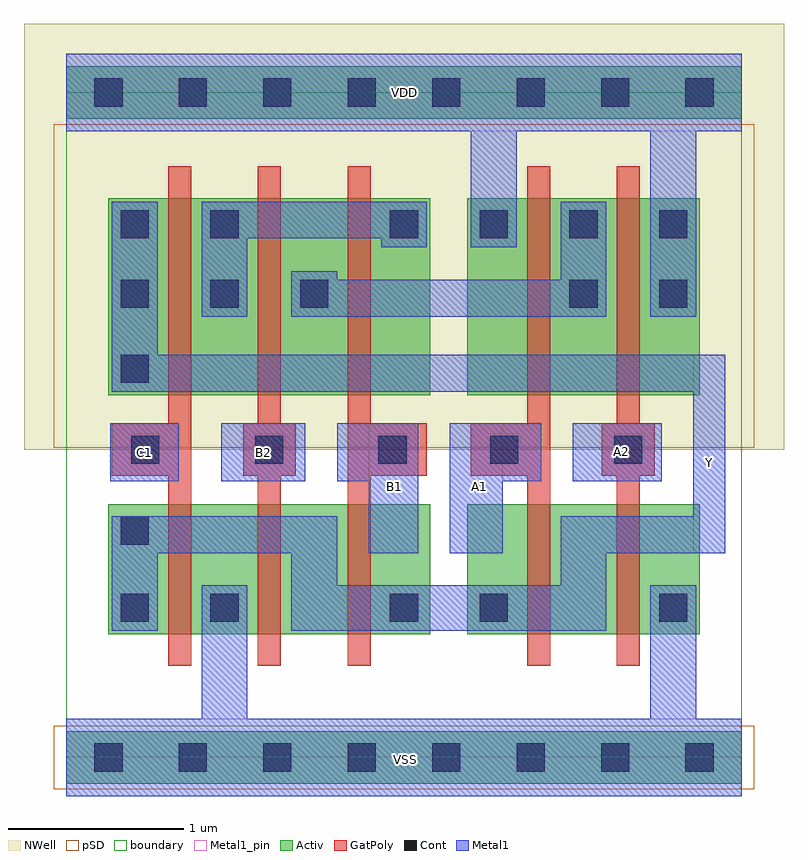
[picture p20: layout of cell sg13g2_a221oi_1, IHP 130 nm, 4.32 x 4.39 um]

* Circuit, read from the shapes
.subckt sg13g2_a221oi_1 A1 A2 B1 B2 C1 VDD VSS Y
XM1 VSS C1 Y VSS sg13_lv_nmos w=0.74u l=0.13u
XM2 n1 B2 VSS VSS sg13_lv_nmos w=0.74u l=0.13u
XM3 Y B1 n1 VSS sg13_lv_nmos w=0.74u l=0.13u
XM4 n2 A1 Y VSS sg13_lv_nmos w=0.74u l=0.13u
XM5 VSS A2 n2 VSS sg13_lv_nmos w=0.74u l=0.13u
XM6 n3 C1 Y VDD sg13_lv_pmos w=1.12u l=0.13u
XM7 n4 B2 n3 VDD sg13_lv_pmos w=1.12u l=0.13u
XM8 n3 B1 n4 VDD sg13_lv_pmos w=1.12u l=0.13u
XM9 n4 A1 VDD VDD sg13_lv_pmos w=1.12u l=0.13u
XM10 VDD A2 n4 VDD sg13_lv_pmos w=1.12u l=0.13u
.ends

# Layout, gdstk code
import gdstk
lib = gdstk.Library(unit=1e-6, precision=1e-09)
def R(c, l, rs):  # rectangles x0, y0, x1, y1
    for r in rs: c.add(gdstk.rectangle(r[:2], r[2:], *l))
def A(c, l, x, y, w, h, nx, ny, dx, dy):  # array of equal rectangles
    R(c, l, [(x+i*dx, y+j*dy, x+i*dx+w, y+j*dy+h) for i in range(nx) for j in range(ny)])
def P(c, l, *ps):  # polygons
    for p in ps: c.add(gdstk.Polygon(p, *l))
Activ = (1, 0)
GatPoly = (5, 0)
Cont = (6, 0)
Metal1 = (8, 0)
Metal1_pin = (8, 2)
pSD = (14, 0)
NWell = (31, 0)
boundary = (189, 4)

sg13g2_a221oi_1 = lib.new_cell('sg13g2_a221oi_1')
R(sg13g2_a221oi_1, Activ, [(0,-0.15,3.84,0.15), (0.24,0.7,2.07,1.44), (2.28,0.7,3.6,1.44), (0.24,2.06,2.07,3.18), (2.28,2.06,3.6,3.18), (0,3.63,3.84,3.93)])
P(sg13g2_a221oi_1, GatPoly, [(2.05,1.9),(1.73,1.9),(1.73,3.36),(1.6,3.36),(1.6,0.52),(1.73,0.52),(1.73,1.6),(2.05,1.6)],
  [(0.71,3.36),(0.58,3.36),(0.58,1.9),(0.26,1.9),(0.26,1.6),(0.58,1.6),(0.58,0.52),(0.71,0.52)],
  [(3.345,1.9),(3.26,1.9),(3.26,3.36),(3.13,3.36),(3.13,1.9),(3.045,1.9),(3.045,1.6),(3.13,1.6),(3.13,0.52),(3.26,0.52),(3.26,1.6),(3.345,1.6)],
  [(1.305,1.9),(1.22,1.9),(1.22,3.36),(1.09,3.36),(1.09,1.9),(1.005,1.9),(1.005,1.6),(1.09,1.6),(1.09,0.52),(1.22,0.52),(1.22,1.6),(1.305,1.6)],
  [(2.75,3.36),(2.62,3.36),(2.62,1.9),(2.3,1.9),(2.3,1.6),(2.62,1.6),(2.62,0.52),(2.75,0.52)])
A(sg13g2_a221oi_1, Cont, 0.16, -0.08, 0.16, 0.16, 8, 2, 0.48, 3.78)
A(sg13g2_a221oi_1, Cont, 0.31, 2.555, 0.16, 0.16, 3, 1, 0.51, 0)
A(sg13g2_a221oi_1, Cont, 1.84, 2.95, 0.16, 0.16, 4, 1, 0.51, 0)
R(sg13g2_a221oi_1, Cont, [(0.31,0.77,0.47,0.93), (0.82,0.77,0.98,0.93), (1.84,0.77,2,0.93), (2.35,0.77,2.51,0.93), (3.37,0.77,3.53,0.93), (0.31,1.21,0.47,1.37), (0.37,1.67,0.53,1.83), (1.075,1.67,1.235,1.83), (1.775,1.67,1.935,1.83), (2.41,1.67,2.57,1.83), (3.115,1.67,3.275,1.83), (0.31,2.13,0.47,2.29), (2.86,2.555,3.02,2.715), (3.37,2.555,3.53,2.715), (0.31,2.95,0.47,3.11), (0.82,2.95,0.98,3.11)])
R(sg13g2_a221oi_1, Metal1, [(0.25,1.57,0.64,1.9), (0.88,1.57,1.36,1.9), (2.88,1.57,3.385,1.9)])
P(sg13g2_a221oi_1, Metal1, [(3.84,4),(0,4),(0,3.56),(2.3,3.56),(2.3,2.9),(2.56,2.9),(2.56,3.56),(3.32,3.56),(3.32,2.505),(3.58,2.505),(3.58,3.56),(3.84,3.56)],
  [(2.05,3.16),(0.77,3.16),(0.77,2.505),(1.03,2.505),(1.03,2.95),(1.79,2.95),(1.79,2.9),(2.05,2.9)],
  [(2,1.9),(1.54,1.9),(1.54,1.57),(1.72,1.57),(1.72,1.16),(2,1.16)],
  [(3.745,2.29),(0.52,2.29),(0.52,3.16),(0.26,3.16),(0.26,2.08),(3.565,2.08),(3.565,1.37),(2.81,1.37),(2.81,0.98),(1.54,0.98),(1.54,1.37),(0.26,1.37),(0.26,0.72),(0.52,0.72),(0.52,1.16),(1.28,1.16),(1.28,0.72),(3.07,0.72),(3.07,1.16),(3.745,1.16)],
  [(3.07,3.16),(2.81,3.16),(2.81,2.715),(1.54,2.715),(1.54,2.765),(1.28,2.765),(1.28,2.505),(3.07,2.505)],
  [(2.7,1.9),(2.18,1.9),(2.18,1.16),(2.48,1.16),(2.48,1.57),(2.7,1.57)],
  [(3.84,0.22),(3.58,0.22),(3.58,0.98),(3.32,0.98),(3.32,0.22),(1.03,0.22),(1.03,0.98),(0.77,0.98),(0.77,0.22),(0,0.22),(0,-0.22),(3.84,-0.22)])
R(sg13g2_a221oi_1, Metal1_pin, [(0,-0.22,3.84,0.22), (1.72,1.16,2,1.9), (2.18,1.16,2.48,1.9), (3.565,1.16,3.745,2.29), (0.25,1.57,0.64,1.9), (0.88,1.57,1.36,1.9), (2.88,1.57,3.385,1.9), (0,3.56,3.84,4)])
R(sg13g2_a221oi_1, pSD, [(-0.07,-0.18,3.91,0.18), (-0.07,1.76,3.91,3.6)])
R(sg13g2_a221oi_1, NWell, [(-0.24,1.75,4.08,4.17)])
R(sg13g2_a221oi_1, boundary, [(0,0,3.84,3.78)])
sg13g2_a221oi_1.add(gdstk.Label('VSS', (1.93,-0.01), layer=8, texttype=2))
sg13g2_a221oi_1.add(gdstk.Label('VDD', (1.92,3.78), layer=8, texttype=2))
sg13g2_a221oi_1.add(gdstk.Label('C1', (0.445,1.735), layer=8, texttype=25))
sg13g2_a221oi_1.add(gdstk.Label('Y', (3.655,1.675), layer=8, texttype=25))
sg13g2_a221oi_1.add(gdstk.Label('B2', (1.12,1.735), layer=8, texttype=25))
sg13g2_a221oi_1.add(gdstk.Label('B1', (1.865,1.54), layer=8, texttype=25))
sg13g2_a221oi_1.add(gdstk.Label('A2', (3.155,1.74), layer=8, texttype=25))
sg13g2_a221oi_1.add(gdstk.Label('A1', (2.35,1.54), layer=8, texttype=25))

lib.write_gds('sg13g2_a221oi_1.gds')
